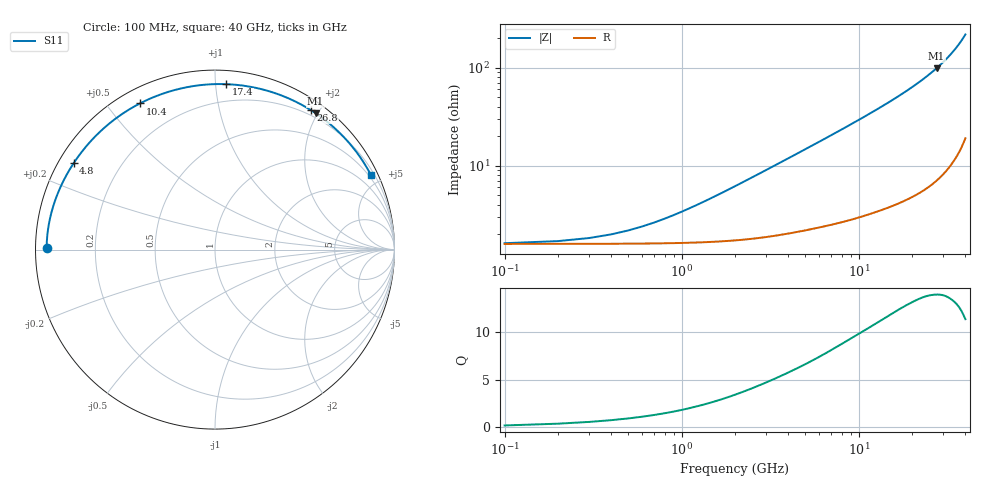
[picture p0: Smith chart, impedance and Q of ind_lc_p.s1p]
#  Hz  S  RI  R  50
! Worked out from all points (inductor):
!   400 points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, 100 MHz to 40 GHz, reference 50 ohm
!   read as one part to ground: L = 470 pH near 1.8 GHz
!   highest Q = 14 at 27.5 GHz (marker M1), where L = 571 pH
!   S11 on the Smith chart (normalised r, x): 100 MHz: 0.03, +0.01; 4.8 GHz: 0.04, +0.28; 10.4 GHz: 0.06, +0.61; 17.4 GHz: 0.08, +1.07; 26.8 GHz: 0.14, +1.89; 40 GHz: 0.38, +4.35
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1e8  -0.9382 0.0112
1.1e9  -0.9289 0.1223
2.2e9  -0.902 0.2395
3.4e9  -0.8566 0.3577
4.8e9  -0.7878 0.4809
5.1e9  -0.7713 0.5052
6.4e9  -0.6941 0.6022
7.6e9  -0.6159 0.6794
8.8e9  -0.5331 0.7448
1.01e10  -0.4404 0.8026
1.04e10  -0.4187 0.814
1.15e10  -0.3393 0.8506
1.27e10  -0.2532 0.881
1.39e10  -0.1686 0.9024
1.51e10  -0.0862 0.9158
1.62e10  -0.0132 0.9216
1.74e10  0.0634 0.9217
1.87e10  0.1423 0.9154
2.01e10  0.2223 0.9023
2.26e10  0.3524 0.8655
2.51e10  0.466 0.8158
2.68e10  0.5343 0.7768
2.75e10  0.5605 0.7598
3.01e10  0.6481 0.6931
3.25e10  0.7166 0.628
3.51e10  0.779 0.5555
3.75e10  0.8269 0.4878
4e10  0.8675 0.4174
